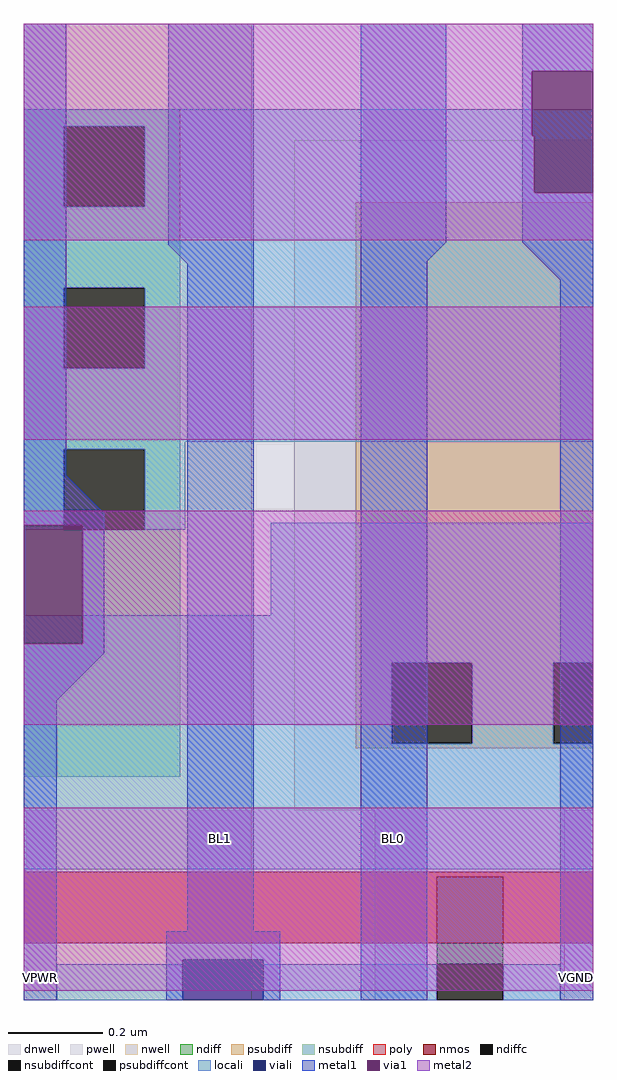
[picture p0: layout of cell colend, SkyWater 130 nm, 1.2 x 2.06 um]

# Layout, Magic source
magic
tech sky130A
magscale 1 2
<< dnwell >>
rect 0 0 240 411
<< nwell >>
rect 0 0 96 411
<< pwell >>
rect 114 80 240 362
rect 148 0 228 80
<< nmos >>
rect 174 24 202 52
<< ndiff >>
rect 174 15 202 24
<< ndiffc >>
rect 174 0 202 15
<< psubdiff >>
rect 140 142 240 336
rect 140 108 155 142
rect 189 108 223 142
rect 140 106 240 108
<< nsubdiff >>
rect 0 368 66 375
rect 0 334 17 368
rect 51 334 66 368
rect 0 300 66 334
rect 0 266 17 300
rect 51 266 66 300
rect 0 232 66 266
rect 0 198 17 232
rect 51 198 66 232
rect 0 94 66 198
<< psubdiffcont >>
rect 155 108 189 142
rect 223 108 240 142
<< nsubdiffcont >>
rect 17 334 51 368
rect 17 266 51 300
rect 17 198 51 232
<< poly >>
rect 0 52 240 54
rect 0 24 174 52
rect 202 24 240 52
<< locali >>
rect 0 368 240 375
rect 0 334 17 368
rect 51 334 240 368
rect 0 300 240 334
rect 0 266 17 300
rect 51 266 240 300
rect 0 235 240 266
rect 0 232 68 235
rect 0 198 17 232
rect 51 198 68 232
rect 104 162 240 201
rect 0 142 240 162
rect 0 108 155 142
rect 189 108 223 142
rect 0 55 240 108
rect 14 0 67 15
rect 101 0 174 15
rect 202 0 226 15
<< viali >>
rect 67 0 101 17
<< metal1 >>
rect 0 205 18 411
rect 61 318 97 411
tri 61 310 69 318 ne
tri 18 205 34 221 sw
rect 0 200 34 205
rect 25 150 34 200
rect 0 146 34 150
rect 0 0 14 146
tri 14 126 34 146 nw
rect 69 29 97 318
rect 142 319 178 411
rect 60 17 108 29
rect 60 0 67 17
rect 101 0 108 17
rect 142 0 170 319
tri 170 311 178 319 nw
rect 210 391 240 411
rect 210 364 214 391
rect 210 340 215 364
rect 210 319 240 340
tri 210 303 226 319 ne
rect 226 0 240 319
<< via1 >>
rect 0 150 25 200
rect 214 364 240 391
rect 215 340 240 364
<< metal2 >>
rect 0 391 240 411
rect 0 364 214 391
rect 0 340 215 364
rect 0 320 240 340
rect 0 236 240 292
rect 0 200 240 206
rect 25 150 240 200
rect 0 116 240 150
rect 0 4 240 81
<< labels >>
rlabel metal1 s 69 55 97 81 4 BL1
port 1 se
rlabel metal1 s 0 0 14 19 4 VPWR
port 3 se
rlabel metal1 s 226 0 240 19 4 VGND
port 2 se
rlabel metal1 s 142 55 170 81 4 BL0
port 0 se
<< end >>
